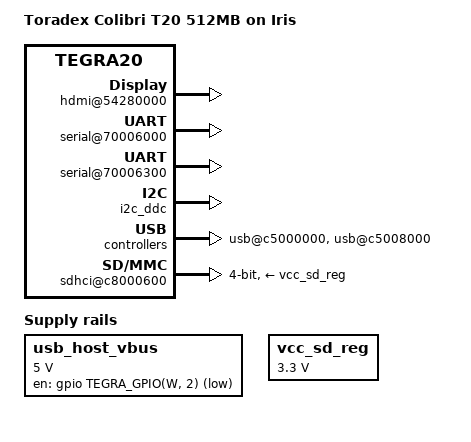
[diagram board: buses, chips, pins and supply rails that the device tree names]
// SPDX-License-Identifier: GPL-2.0
/dts-v1/;

#include "tegra20-colibri-512.dtsi"

/ {
	model = "Toradex Colibri T20 512MB on Iris";
	compatible = "toradex,iris", "toradex,colibri_t20-512", "nvidia,tegra20";

	aliases {
		serial0 = &uarta;
		serial1 = &uartd;
	};

	chosen {
		stdout-path = "serial0:115200n8";
	};

	host1x@50000000 {
		hdmi@54280000 {
			status = "okay";
		};
	};

	pinmux@70000014 {
		state_default: pinmux {
			hdint {
				nvidia,tristate = <TEGRA_PIN_DISABLE>;
			};

			i2cddc {
				nvidia,tristate = <TEGRA_PIN_DISABLE>;
			};

			sdio4 {
				nvidia,tristate = <TEGRA_PIN_DISABLE>;
			};

			uarta {
				nvidia,tristate = <TEGRA_PIN_DISABLE>;
			};

			uartd {
				nvidia,tristate = <TEGRA_PIN_DISABLE>;
			};
		};
	};

	serial@70006000 {
		status = "okay";
	};

	serial@70006300 {
		status = "okay";
	};

	i2c_ddc: i2c@7000c400 {
		status = "okay";
	};

	usb@c5000000 {
		status = "okay";
	};

	usb-phy@c5000000 {
		status = "okay";
	};

	usb@c5008000 {
		status = "okay";
	};

	usb-phy@c5008000 {
		status = "okay";
	};

	sdhci@c8000600 {
		status = "okay";
		bus-width = <4>;
		vmmc-supply = <&vcc_sd_reg>;
		vqmmc-supply = <&vcc_sd_reg>;
	};

	regulators {
		regulator@0 {
			compatible = "regulator-fixed";
			reg = <0>;
			regulator-name = "usb_host_vbus";
			regulator-min-microvolt = <5000000>;
			regulator-max-microvolt = <5000000>;
			regulator-boot-on;
			regulator-always-on;
			gpio = <&gpio TEGRA_GPIO(W, 2) GPIO_ACTIVE_HIGH>;
		};

		vcc_sd_reg: regulator@1 {
			compatible = "regulator-fixed";
			reg = <1>;
			regulator-name = "vcc_sd";
			regulator-min-microvolt = <3300000>;
			regulator-max-microvolt = <3300000>;
			regulator-boot-on;
			regulator-always-on;
		};
	};
};
